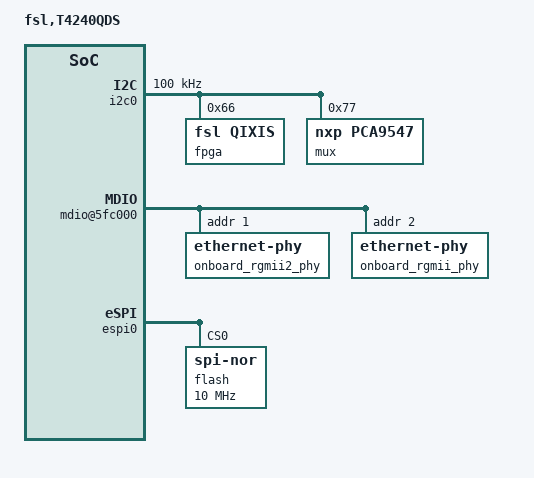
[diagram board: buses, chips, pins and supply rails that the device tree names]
// SPDX-License-Identifier: GPL-2.0+ OR X11
/*
 * T4240QDS Device Tree Source
 *
 * Copyright 2013 - 2015 Freescale Semiconductor Inc.
 * Copyright 2019-2023 NXP
 */

/include/ "t4240.dtsi"

/ {
	model = "fsl,T4240QDS";
	compatible = "fsl,T4240QDS";
	#address-cells = <2>;
	#size-cells = <2>;
	interrupt-parent = <&mpic>;

	aliases {
		spi0 = &espi0;
		serial0 = &serial0;
		serial1 = &serial1;
		serial2 = &serial2;
		serial3 = &serial3;
		/* Match Linux: bus 0 is the controller at 0x118000 (SPD / PCA9547). */
		i2c0 = &i2c0;
		i2c1 = &i2c1;
		i2c2 = &i2c2;
		i2c3 = &i2c3;
	};
};

/*
 * SoC .dtsi stubs use clock-frequency = <0>. SPD / mux bring-up is conservative
 * standard-mode (100 kHz); raise in board DT only if you need faster peripherals.
 */
&i2c0 {
	clock-frequency = <100000>;
	status = "okay";

	fpga@66 {
		compatible = "fsl,qixis";
		reg = <0x66>;
	};

	mux@77 {
		compatible = "nxp,pca9547";
		reg = <0x77>;
		#address-cells = <1>;
		#size-cells = <0>;

		i2c@0 {
			#address-cells = <1>;
			#size-cells = <0>;
			reg = <0>;
		};

		i2c@1 {
			#address-cells = <1>;
			#size-cells = <0>;
			reg = <1>;
		};

		i2c@2 {
			#address-cells = <1>;
			#size-cells = <0>;
			reg = <2>;
		};

		i2c@3 {
			#address-cells = <1>;
			#size-cells = <0>;
			reg = <3>;
		};
	};
};

/*
 * U-Boot: onboard RGMII on FM1@DTSEC5 (PHY MDIO addr 2) and FM2@DTSEC5 (addr 1),
 * both on the EMI1 RGMII mux (board eth.c / Linux phyrgmii1+2). Other DTSECs stay
 * disabled so boot stays light; Linux still enables SerDes / slots / 10G as needed.
 *
 * All four PCIe controllers stay enabled: only pcie@ffe260000 overrides ranges
 * (fragment must target /pcie@ffe260000 — in t4240.dtsi PCIe is NOT under soc).
 */
&soc {
	fman@400000 {
		ethernet@e0000 {
			status = "disabled";
		};

		ethernet@e2000 {
			status = "disabled";
		};

		ethernet@e4000 {
			status = "disabled";
		};

		ethernet@e6000 {
			status = "disabled";
		};

		ethernet@e8000 {
			phy-handle = <&onboard_rgmii_phy>;
			phy-connection-type = "rgmii";
		};

		ethernet@ea000 {
			status = "disabled";
		};

		ethernet@f0000 {
			status = "disabled";
		};

		ethernet@f2000 {
			status = "disabled";
		};
	};

	fman@500000 {
		ethernet@e0000 {
			status = "disabled";
		};

		ethernet@e2000 {
			status = "disabled";
		};

		ethernet@e4000 {
			status = "disabled";
		};

		ethernet@e6000 {
			status = "disabled";
		};

		ethernet@e8000 {
			phy-handle = <&onboard_rgmii2_phy>;
			phy-connection-type = "rgmii";
		};

		ethernet@ea000 {
			status = "disabled";
		};

		ethernet@f0000 {
			status = "disabled";
		};

		ethernet@f2000 {
			status = "disabled";
		};

		mdio@5fc000 {
			/*
			 * FM2 MEMAC MDIO + QIXIS EMI1_RGMII mux: PHY 2 = FM1 DTSEC5,
			 * PHY 1 = FM2 DTSEC5 (CFG_SYS_FM2_DTSEC_MDIO_ADDR + eth.c).
			 */
			onboard_rgmii2_phy: ethernet-phy@1 {
				reg = <0x1>;
			};

			onboard_rgmii_phy: ethernet-phy@2 {
				reg = <0x2>;
			};
		};

		mdio@5fd000 {
			status = "disabled";
		};
	};
};

/*
 * Same ranges as Linux arch/powerpc/boot/dts/fsl/t4240qds.dts (pci2).
 * Must use &{/...} — t4240.dtsi places PCIe under /, not under &soc.
 */
&{/pcie@ffe260000} {
	ranges = <0x01000000 0x0 0x00000000 0xf 0xf8020000 0x0 0x00010000
		  0x02000000 0x0 0xe0000000 0xc 0x80000000 0x0 0x20000000
		  0x43000000 0x2 0x0 0x0e 0x0 0x2 0x00000000>;
};

&espi0 {
	status = "okay";
	flash@0 {
		compatible = "jedec,spi-nor";
		#address-cells = <1>;
		#size-cells = <1>;
		reg = <0>;
		spi-max-frequency = <10000000>; /* input clock */
	};
};

/*
 * PCIe3 MMIO (above): pcie@ffe260000, LAW target 0x02 per RM.
 *
 * Decoder inventory (CPU real / local map, typical QDS + full 48 GiB DRAM @ 0):
 *   [0, 0xC00000000)     — DDR (six-DIMM / SPD layout; do not place MMIO here)
 *   [0xC00000000, 0xC80000000) — PCIe1/2/4 keep NXP 512 MiB each (t4240.dtsi).
 *     PCIe3’s former 512 MiB slot (0xc4..0xc6) is unused with this override.
 *   [0xC80000000, 0xCA0000000) — PCIe3 non-prefetch MEM, 512 MiB (override)
 *   [0xE00000000, 0x1000000000) — PCIe3 prefetch MEM, 8 GiB (PCI 0x200000000+)
 *   0xFE0000000 region     — CCSR (default; relocatable via CCSRBAR)
 *   0xF_E000_0000 + …      — IFC NOR (T4240QDS.h)
 *   0xF_FDF0_0000          — QIXIS (IFC CS)
 *   0xFF4000000 / 0xFF6000000 — BMan / QMan (32 MiB each, if enabled)
 *
 * Prefetch CPU base 0xe00000000 matches Linux pci2 so LAW from pcie_fsl.c
 * covers the same PAs the kernel maps with outbound ATMU.
 *
 * U-Boot: drivers/pci/pcie_fsl.c programs LAW + outbound ATMU from "ranges".
 */

/include/ "t4240si-post.dtsi"
